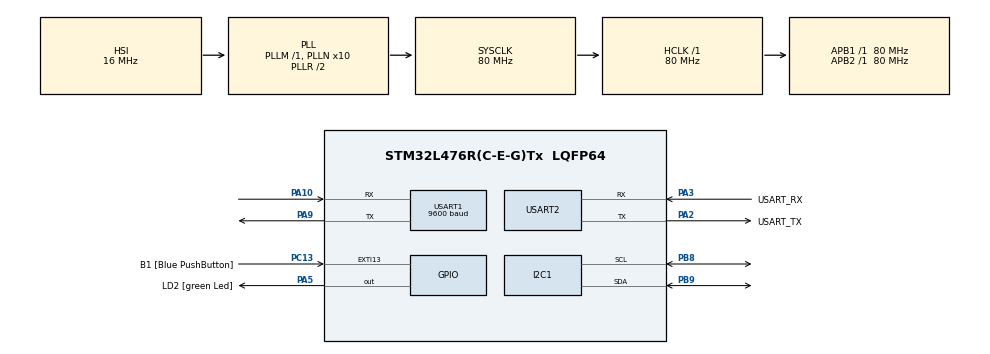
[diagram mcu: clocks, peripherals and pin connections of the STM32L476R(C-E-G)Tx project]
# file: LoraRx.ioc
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I2C1.Timing=0x10909CEC
Mcu.Family=STM32L4
Mcu.Name=STM32L476R(C-E-G)Tx
Mcu.Package=LQFP64
NVIC.PriorityGroup=NVIC_PRIORITYGROUP_4
PA10.Mode=Asynchronous
PA10.Signal=USART1_RX
PA13\ (JTMS-SWDIO).GPIO_Label=TMS
PA13\ (JTMS-SWDIO).Mode=Serial_Wire
PA13\ (JTMS-SWDIO).Signal=SYS_JTMS-SWDIO
PA14\ (JTCK-SWCLK).GPIO_Label=TCK
PA14\ (JTCK-SWCLK).Mode=Serial_Wire
PA14\ (JTCK-SWCLK).Signal=SYS_JTCK-SWCLK
PA2.GPIO_Label=USART_TX
PA2.GPIO_Mode=GPIO_MODE_AF_PP
PA2.GPIO_PuPd=GPIO_NOPULL
PA2.GPIO_Speed=GPIO_SPEED_FREQ_VERY_HIGH
PA2.Mode=Asynchronous
PA2.Signal=USART2_TX
PA3.GPIO_Label=USART_RX
PA3.GPIO_Mode=GPIO_MODE_AF_PP
PA3.GPIO_PuPd=GPIO_NOPULL
PA3.GPIO_Speed=GPIO_SPEED_FREQ_VERY_HIGH
PA3.Mode=Asynchronous
PA3.Signal=USART2_RX
PA5.GPIO_Label=LD2 [green Led]
PA5.GPIO_ModeDefaultOutputPP=GPIO_MODE_OUTPUT_PP
PA5.GPIO_PuPd=GPIO_NOPULL
PA5.GPIO_Speed=GPIO_SPEED_FREQ_LOW
PA5.Signal=GPIO_Output
PA9.Mode=Asynchronous
PA9.Signal=USART1_TX
PB3\ (JTDO-TRACESWO).GPIO_Label=SWO
PB3\ (JTDO-TRACESWO).Signal=SYS_JTDO-SWO
PB8.Mode=I2C
PB8.Signal=I2C1_SCL
PB9.Mode=I2C
PB9.Signal=I2C1_SDA
PC13.GPIO_Label=B1 [Blue PushButton]
PC13.GPIO_ModeDefaultEXTI=GPIO_MODE_IT_FALLING
PC13.GPIO_PuPd=GPIO_NOPULL
PC13.Signal=GPXTI13
PC14-OSC32_IN\ (PC14).Mode=LSE-External-Oscillator
PC14-OSC32_IN\ (PC14).Signal=RCC_OSC32_IN
PC15-OSC32_OUT\ (PC15).Mode=LSE-External-Oscillator
PC15-OSC32_OUT\ (PC15).Signal=RCC_OSC32_OUT
PH0-OSC_IN\ (PH0).Signal=RCC_OSC_IN
PH1-OSC_OUT\ (PH1).Signal=RCC_OSC_OUT
ProjectManager.HeapSize=0x200
ProjectManager.StackSize=0x400
ProjectManager.TargetToolchain=STM32CubeIDE
RCC.ADCFreq_Value=64000000
RCC.AHBFreq_Value=80000000
RCC.APB1Freq_Value=80000000
RCC.APB1TimFreq_Value=80000000
RCC.APB2Freq_Value=80000000
RCC.APB2TimFreq_Value=80000000
RCC.CortexFreq_Value=80000000
RCC.HCLKFreq_Value=80000000
RCC.HSE_VALUE=8000000
RCC.HSI_VALUE=16000000
RCC.MSI_VALUE=4000000
RCC.PLLN=10
RCC.PLLSourceVirtual=RCC_PLLSOURCE_HSI
RCC.PREFETCH_ENABLE=1
RCC.SYSCLKFreq_VALUE=80000000
RCC.SYSCLKSource=RCC_SYSCLKSOURCE_PLLCLK
RCC.USBFreq_Value=64000000
RCC.VCOOutputFreq_Value=160000000
USART1.BaudRate=9600
USART1.VirtualMode-Asynchronous=VM_ASYNC
USART2.VirtualMode-Asynchronous=VM_ASYNC
board=NUCLEO-L476RG

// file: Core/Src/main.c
/* USER CODE BEGIN Header */
/**
  ******************************************************************************
  * @file           : main.c
  * @brief          : Main program body
  ******************************************************************************
  * @attention
  *
  * Copyright (c) 2024 STMicroelectronics.
  * All rights reserved.
  *
  * This software is licensed under terms that can be found in the LICENSE file
  * in the root directory of this software component.
  * If no LICENSE file comes with this software, it is provided AS-IS.
  *
  ******************************************************************************
  */
/* USER CODE END Header */
#include "main.h"

/* USER CODE BEGIN Includes */
#include <string.h>
#include <stdio.h>
#include <lcd_lib.h>
/* USER CODE END Includes */

/* USER CODE BEGIN PTD */
typedef struct{
	char acc_x[4];
	char acc_y[4];
	char acc_z[4];
	char temperature[7];
	char humidity[6];
	char pressure[8];
}data;
/* USER CODE END PTD */

I2C_HandleTypeDef hi2c1;

UART_HandleTypeDef huart1;
UART_HandleTypeDef huart2;

void SystemClock_Config(void);
static void MX_GPIO_Init(void);
static void MX_USART2_UART_Init(void);
static void MX_USART1_UART_Init(void);
static void MX_I2C1_Init(void);
/* USER CODE BEGIN PFP */
void lora_init(void);
void lora_receive(void);
void data_decode(data *data_decode);
void trame_decode(void);
void display_serial_data(data data_display);
void display_lcd_data(data data_display);
/* USER CODE END PFP */

/* USER CODE BEGIN 0 */
char response[1000] = "";
char trame_decodee[50] = "";
rgb_lcd lcd;

/* USER CODE END 0 */

int main(void)
{

  /* MCU Configuration--------------------------------------------------------*/

  /* Reset of all peripherals, Initializes the Flash interface and the Systick. */
  HAL_Init();

  /* USER CODE BEGIN Init */
  data data_decodee;
  int taille = 0;
  /* USER CODE END Init */

  /* Configure the system clock */
  SystemClock_Config();

  /* Initialize all configured peripherals */
  MX_GPIO_Init();
  MX_USART2_UART_Init();
  MX_USART1_UART_Init();
  MX_I2C1_Init();
  /* USER CODE BEGIN 2 */
  lora_init();
  lcd_init(&hi2c1, &lcd);
  lcd_position(&hi2c1,0,0);
  lcd_print(&hi2c1, " x  |  y   |  z ");
  lcd_position(&hi2c1, 0, 1);
  lcd_print(&hi2c1, "temp | hum | pre");
  HAL_Delay(1000);
  clearlcd();
  /* USER CODE END 2 */

  /* Infinite loop */
  while (1)
  {

    /* USER CODE BEGIN 3 */
	  lora_receive();
	  taille = strlen(response);
	  if(taille > 80){
		  trame_decode();
		  data_decode(&data_decodee);
		  display_serial_data(data_decodee);
		  display_lcd_data(data_decodee);
	  }
  }
  /* USER CODE END 3 */
}

void SystemClock_Config(void)
{
  RCC_OscInitTypeDef RCC_OscInitStruct = {0};
  RCC_ClkInitTypeDef RCC_ClkInitStruct = {0};

  /** Configure the main internal regulator output voltage
  */
  if (HAL_PWREx_ControlVoltageScaling(PWR_REGULATOR_VOLTAGE_SCALE1) != HAL_OK)
  {
    Error_Handler();
  }

  /** Initializes the RCC Oscillators according to the specified parameters
  * in the RCC_OscInitTypeDef structure.
  */
  RCC_OscInitStruct.OscillatorType = RCC_OSCILLATORTYPE_HSI;
  RCC_OscInitStruct.HSIState = RCC_HSI_ON;
  RCC_OscInitStruct.HSICalibrationValue = RCC_HSICALIBRATION_DEFAULT;
  RCC_OscInitStruct.PLL.PLLState = RCC_PLL_ON;
  RCC_OscInitStruct.PLL.PLLSource = RCC_PLLSOURCE_HSI;
  RCC_OscInitStruct.PLL.PLLM = 1;
  RCC_OscInitStruct.PLL.PLLN = 10;
  RCC_OscInitStruct.PLL.PLLP = RCC_PLLP_DIV7;
  RCC_OscInitStruct.PLL.PLLQ = RCC_PLLQ_DIV2;
  RCC_OscInitStruct.PLL.PLLR = RCC_PLLR_DIV2;
  if (HAL_RCC_OscConfig(&RCC_OscInitStruct) != HAL_OK)
  {
    Error_Handler();
  }

  /** Initializes the CPU, AHB and APB buses clocks
  */
  RCC_ClkInitStruct.ClockType = RCC_CLOCKTYPE_HCLK|RCC_CLOCKTYPE_SYSCLK
                              |RCC_CLOCKTYPE_PCLK1|RCC_CLOCKTYPE_PCLK2;
  RCC_ClkInitStruct.SYSCLKSource = RCC_SYSCLKSOURCE_PLLCLK;
  RCC_ClkInitStruct.AHBCLKDivider = RCC_SYSCLK_DIV1;
  RCC_ClkInitStruct.APB1CLKDivider = RCC_HCLK_DIV1;
  RCC_ClkInitStruct.APB2CLKDivider = RCC_HCLK_DIV1;

  if (HAL_RCC_ClockConfig(&RCC_ClkInitStruct, FLASH_LATENCY_4) != HAL_OK)
  {
    Error_Handler();
  }
}

static void MX_I2C1_Init(void)
{

  hi2c1.Instance = I2C1;
  hi2c1.Init.Timing = 0x10909CEC;
  hi2c1.Init.OwnAddress1 = 0;
  hi2c1.Init.AddressingMode = I2C_ADDRESSINGMODE_7BIT;
  hi2c1.Init.DualAddressMode = I2C_DUALADDRESS_DISABLE;
  hi2c1.Init.OwnAddress2 = 0;
  hi2c1.Init.OwnAddress2Masks = I2C_OA2_NOMASK;
  hi2c1.Init.GeneralCallMode = I2C_GENERALCALL_DISABLE;
  hi2c1.Init.NoStretchMode = I2C_NOSTRETCH_DISABLE;
  if (HAL_I2C_Init(&hi2c1) != HAL_OK)
  {
    Error_Handler();
  }

  /** Configure Analogue filter
  */
  if (HAL_I2CEx_ConfigAnalogFilter(&hi2c1, I2C_ANALOGFILTER_ENABLE) != HAL_OK)
  {
    Error_Handler();
  }

  /** Configure Digital filter
  */
  if (HAL_I2CEx_ConfigDigitalFilter(&hi2c1, 0) != HAL_OK)
  {
    Error_Handler();
  }

}

static void MX_USART1_UART_Init(void)
{

  huart1.Instance = USART1;
  huart1.Init.BaudRate = 9600;
  huart1.Init.WordLength = UART_WORDLENGTH_8B;
  huart1.Init.StopBits = UART_STOPBITS_1;
  huart1.Init.Parity = UART_PARITY_NONE;
  huart1.Init.Mode = UART_MODE_TX_RX;
  huart1.Init.HwFlowCtl = UART_HWCONTROL_NONE;
  huart1.Init.OverSampling = UART_OVERSAMPLING_16;
  huart1.Init.OneBitSampling = UART_ONE_BIT_SAMPLE_DISABLE;
  huart1.AdvancedInit.AdvFeatureInit = UART_ADVFEATURE_NO_INIT;
  if (HAL_UART_Init(&huart1) != HAL_OK)
  {
    Error_Handler();
  }

}

static void MX_USART2_UART_Init(void)
{

  huart2.Instance = USART2;
  huart2.Init.BaudRate = 115200;
  huart2.Init.WordLength = UART_WORDLENGTH_8B;
  huart2.Init.StopBits = UART_STOPBITS_1;
  huart2.Init.Parity = UART_PARITY_NONE;
  huart2.Init.Mode = UART_MODE_TX_RX;
  huart2.Init.HwFlowCtl = UART_HWCONTROL_NONE;
  huart2.Init.OverSampling = UART_OVERSAMPLING_16;
  huart2.Init.OneBitSampling = UART_ONE_BIT_SAMPLE_DISABLE;
  huart2.AdvancedInit.AdvFeatureInit = UART_ADVFEATURE_NO_INIT;
  if (HAL_UART_Init(&huart2) != HAL_OK)
  {
    Error_Handler();
  }

}

static void MX_GPIO_Init(void)
{
  GPIO_InitTypeDef GPIO_InitStruct = {0};

  /* GPIO Ports Clock Enable */
  __HAL_RCC_GPIOC_CLK_ENABLE();
  __HAL_RCC_GPIOH_CLK_ENABLE();
  __HAL_RCC_GPIOA_CLK_ENABLE();
  __HAL_RCC_GPIOB_CLK_ENABLE();

  /*Configure GPIO pin Output Level */
  HAL_GPIO_WritePin(LD2_GPIO_Port, LD2_Pin, GPIO_PIN_RESET);

  /*Configure GPIO pin : B1_Pin */
  GPIO_InitStruct.Pin = B1_Pin;
  GPIO_InitStruct.Mode = GPIO_MODE_IT_FALLING;
  GPIO_InitStruct.Pull = GPIO_NOPULL;
  HAL_GPIO_Init(B1_GPIO_Port, &GPIO_InitStruct);

  /*Configure GPIO pin : LD2_Pin */
  GPIO_InitStruct.Pin = LD2_Pin;
  GPIO_InitStruct.Mode = GPIO_MODE_OUTPUT_PP;
  GPIO_InitStruct.Pull = GPIO_NOPULL;
  GPIO_InitStruct.Speed = GPIO_SPEED_FREQ_LOW;
  HAL_GPIO_Init(LD2_GPIO_Port, &GPIO_InitStruct);

}

/* USER CODE BEGIN 4 */
void lora_init(void){
	char command1[] = "AT+MODE=TEST\r\n" ;
	char response[1000] = "";
	HAL_UART_Transmit(&huart1, (uint8_t*)command1, strlen(command1), 1000);
	HAL_UART_Receive(&huart1, (uint8_t*)response, sizeof(response), 1000);
}

void lora_receive(void){
	char command2[] = "AT+TEST=RXLRPKT\n" ;
	HAL_UART_Transmit(&huart1, (uint8_t*)command2, strlen(command2), 1000);
	HAL_UART_Receive(&huart1, (uint8_t*)response, sizeof(response), 1000);

}

void trame_decode(void){
	int i = 0;
	int j = 0;
	while(response[i] != '\"'){
		i++;
	}
	if(response[i] == '\"'){
			i++;
			while(response[i] != '\"'){
				trame_decodee[j] = response[i];
				i++;
				j++;
			}
	}
}

void data_decode(data *data_decode){
	size_t taille = strlen(trame_decodee);
	if(taille>20){

		snprintf(data_decode->acc_x, 4, "%c%c",(trame_decodee[1] == '2') ? '+' : '-',
													  trame_decodee[2]);

		snprintf(data_decode->acc_y, 4, "%c%c",(trame_decodee[3] == '2') ? '+' : '-',
												  trame_decodee[4]);

		snprintf(data_decode->acc_z, 4, "%c%c",(trame_decodee[5] == '2') ? '+' : '-',
												  trame_decodee[6]);

		snprintf(data_decode->temperature, 7, "%c%c%c,%c%c",(trame_decodee[7] == '2') ? '+' : '-',
													trame_decodee[8],
												  trame_decodee[9],
												  trame_decodee[10],
												  trame_decodee[11]);

			snprintf(data_decode->humidity, 6, "%c%c,%c%c",trame_decodee[12],
													  trame_decodee[13],
													  trame_decodee[14],
													  trame_decodee[15]);
		snprintf(data_decode->pressure, 8, "%c%c%c%c,%c%c",trame_decodee[16],
													  trame_decodee[17],
													  trame_decodee[18],
													  trame_decodee[19],
													  trame_decodee[20],
													  trame_decodee[21]);
	}
	else{
		snprintf(data_decode->acc_x, 4, "%c%c",(trame_decodee[0] == '2') ? '+' : '-',
													  trame_decodee[1]);

			snprintf(data_decode->acc_y, 4, "%c%c",(trame_decodee[2] == '2') ? '+' : '-',
													  trame_decodee[3]);

			snprintf(data_decode->acc_z, 4, "%c%c",(trame_decodee[4] == '2') ? '+' : '-',
													  trame_decodee[5]);

			snprintf(data_decode->temperature, 7, "%c%c%c,%c%c",(trame_decodee[6] == '2') ? '+' : '-',
														trame_decodee[7],
													  trame_decodee[8],
												   	  trame_decodee[9],
													  trame_decodee[10]);

			snprintf(data_decode->humidity, 6, "%c%c,%c%c",trame_decodee[11],
													  trame_decodee[12],
													  trame_decodee[13],
													  trame_decodee[14]);
		snprintf(data_decode->pressure, 7, "%c%c%c,%c%c",trame_decodee[15],
											  trame_decodee[16],
											  trame_decodee[17],
											  trame_decodee[18],
											  trame_decodee[19]);
	}

}

void display_serial_data(data data_display){
	char data_out[256] = "";
	snprintf(data_out, 113, "acc_x : %s | acc_y : %s | acc_z : %s \ntemperature : %s degC \nhumidity : %s %% \npressure = %s hPa \n"
												  ,data_display.acc_x,
												  data_display.acc_y,
												  data_display.acc_z,
												  data_display.temperature,
												  data_display.humidity,
												  data_display.pressure);
	HAL_UART_Transmit(&huart2, (uint8_t*)data_out,110 , 1000);
	HAL_UART_Transmit(&huart2, (uint8_t*)"\n---------------------------------------\n",44 , 1000);
}

void display_lcd_data(data data_display){
	char data_out[256] = "";
	snprintf(data_out, 113, "%s | %s | %s",data_display.acc_x,
										  data_display.acc_y,
										  data_display.acc_z);
	lcd_position(&hi2c1, 2, 0);
	lcd_print(&hi2c1, data_out);
	size_t taille = strlen(trame_decodee);
	if(taille>20){
		snprintf(data_out, 113, "%c%c%c | %c%c | %c%c%c%c",data_display.temperature[0],
																		data_display.temperature[1],
																		data_display.temperature[2],
																		  data_display.humidity[0],
																		  data_display.humidity[1],
																		  data_display.pressure[0],
																		  data_display.pressure[1],
																		  data_display.pressure[2],
																		  data_display.pressure[3]);
		}
		else{
			snprintf(data_out, 113, "%c%c%c | %c%c | %c%c%c ",data_display.temperature[0],
																	data_display.temperature[1],
																	data_display.temperature[2],
																	  data_display.humidity[0],
																	  data_display.humidity[1],
																	  data_display.pressure[0],
																	  data_display.pressure[1],
																	  data_display.pressure[2]);
		}
	lcd_position(&hi2c1, 0, 1);
	lcd_print(&hi2c1, data_out);

}
/* USER CODE END 4 */

void Error_Handler(void)
{
  __disable_irq();
  while (1)
  {
  }
}
